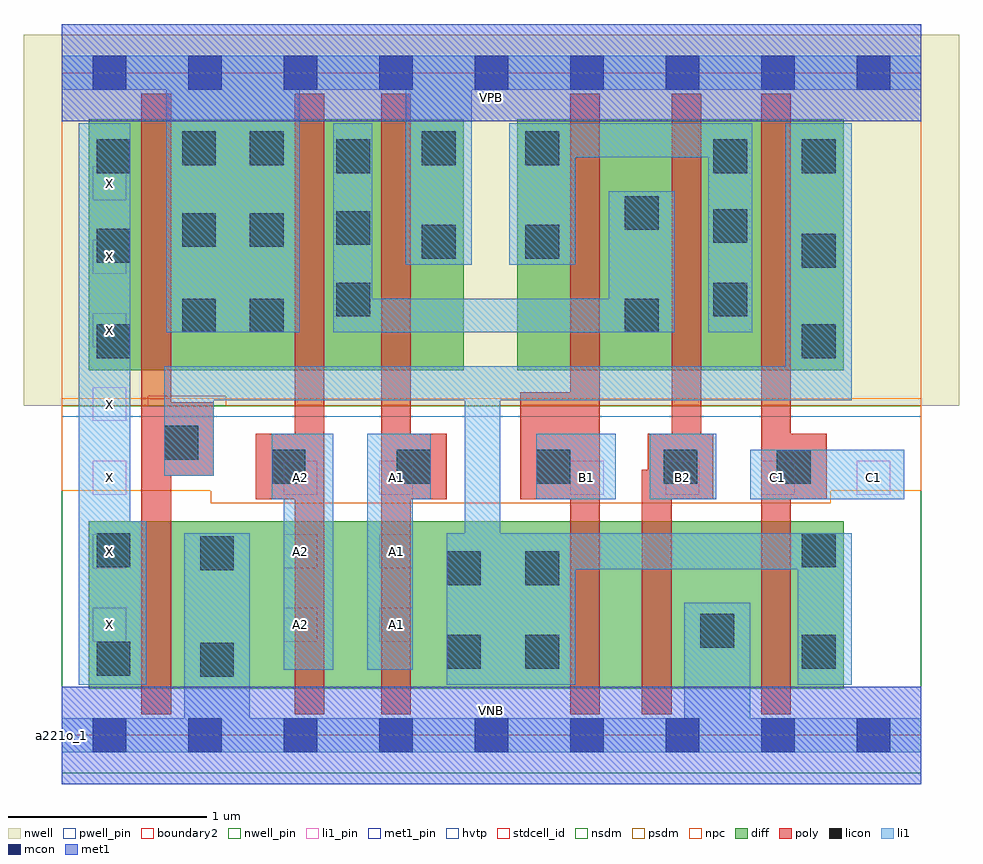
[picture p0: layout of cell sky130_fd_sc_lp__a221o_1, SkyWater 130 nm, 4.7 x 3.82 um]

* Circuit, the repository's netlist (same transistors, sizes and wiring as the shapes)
* Copyright 2020 The SkyWater PDK Authors
*
* Licensed under the Apache License, Version 2.0 (the "License");
* you may not use this file except in compliance with the License.
* You may obtain a copy of the License at
*
*     https://www.apache.org/licenses/LICENSE-2.0
*
* Unless required by applicable law or agreed to in writing, software
* distributed under the License is distributed on an "AS IS" BASIS,
* WITHOUT WARRANTIES OR CONDITIONS OF ANY KIND, either express or implied.
* See the License for the specific language governing permissions and
* limitations under the License.
*
* SPDX-License-Identifier: Apache-2.0

.SUBCKT sky130_fd_sc_lp__a221o_1 A1 A2 B1 B2 C1 VGND VNB VPB VPWR X
*.PININFO A1:I A2:I B1:I B2:I C1:I VGND:I VNB:I VPB:I VPWR:I X:O
MMPA0 pndA A1 VPWR VPB sky130_fd_pr__pfet_01v8_hvt m=1 w=1.26U l=0.15U mult=1 sa=0.265
+ sb=0.265 sd=0.28 area=0.063 perim=1.14
MMPA1 pndA A2 VPWR VPB sky130_fd_pr__pfet_01v8_hvt m=1 w=1.26U l=0.15U mult=1 sa=0.265
+ sb=0.265 sd=0.28 area=0.063 perim=1.14
MMPB0 pndB B1 pndA VPB sky130_fd_pr__pfet_01v8_hvt m=1 w=1.26U l=0.15U mult=1 sa=0.265
+ sb=0.265 sd=0.28 area=0.063 perim=1.14
MMPB1 pndB B2 pndA VPB sky130_fd_pr__pfet_01v8_hvt m=1 w=1.26U l=0.15U mult=1 sa=0.265
+ sb=0.265 sd=0.28 area=0.063 perim=1.14
MMPC0 y C1 pndB VPB sky130_fd_pr__pfet_01v8_hvt m=1 w=1.26U l=0.15U mult=1 sa=0.265
+ sb=0.265 sd=0.28 area=0.063 perim=1.14
MMIPX X y VPWR VPB sky130_fd_pr__pfet_01v8_hvt m=1 w=1.26U l=0.15U mult=1 sa=0.265
+ sb=0.265 sd=0.28 area=0.063 perim=1.14
MMNA0 y A1 sndA1 VNB sky130_fd_pr__nfet_01v8 m=1 w=0.84U l=0.15U mult=1 sa=0.265
+ sb=0.265 sd=0.28 area=0.063 perim=1.14
MMNA1 sndA1 A2 VGND VNB sky130_fd_pr__nfet_01v8 m=1 w=0.84U l=0.15U mult=1 sa=0.265
+ sb=0.265 sd=0.28 area=0.063 perim=1.14
MMNB0 y B1 sndB1 VNB sky130_fd_pr__nfet_01v8 m=1 w=0.84U l=0.15U mult=1 sa=0.265
+ sb=0.265 sd=0.28 area=0.063 perim=1.14
MMNB1 sndB1 B2 VGND VNB sky130_fd_pr__nfet_01v8 m=1 w=0.84U l=0.15U mult=1 sa=0.265
+ sb=0.265 sd=0.28 area=0.063 perim=1.14
MMNC0 y C1 VGND VNB sky130_fd_pr__nfet_01v8 m=1 w=0.84U l=0.15U mult=1 sa=0.265
+ sb=0.265 sd=0.28 area=0.063 perim=1.14
MMINX X y VGND VNB sky130_fd_pr__nfet_01v8 m=1 w=0.84U l=0.15U mult=1 sa=0.265
+ sb=0.265 sd=0.28 area=0.063 perim=1.14
.ENDS sky130_fd_sc_lp__a221o_1

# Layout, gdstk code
import gdstk
lib = gdstk.Library(unit=1e-6, precision=1e-09)
def R(c, l, rs):  # rectangles x0, y0, x1, y1
    for r in rs: c.add(gdstk.rectangle(r[:2], r[2:], *l))
def A(c, l, x, y, w, h, nx, ny, dx, dy):  # array of equal rectangles
    R(c, l, [(x+i*dx, y+j*dy, x+i*dx+w, y+j*dy+h) for i in range(nx) for j in range(ny)])
def P(c, l, *ps):  # polygons
    for p in ps: c.add(gdstk.Polygon(p, *l))
nwell_pin = (64, 16)
nwell = (64, 20)
diff = (65, 20)
poly = (66, 20)
licon = (66, 44)
li1_pin = (67, 16)
li1 = (67, 20)
mcon = (67, 44)
met1_pin = (68, 16)
met1 = (68, 20)
hvtp = (78, 44)
stdcell_id = (81, 4)
nsdm = (93, 44)
psdm = (94, 20)
npc = (95, 20)
pwell_pin = (122, 16)
boundary2 = (236, 0)

sky130_fd_sc_lp__a221o_1 = lib.new_cell('sky130_fd_sc_lp__a221o_1')
R(sky130_fd_sc_lp__a221o_1, nwell_pin, [(0,3.085,4.32,3.33)])
R(sky130_fd_sc_lp__a221o_1, nwell, [(-0.19,1.655,4.51,3.52)])
R(sky130_fd_sc_lp__a221o_1, diff, [(0.135,0.235,3.93,1.075), (0.135,1.835,2.02,3.095), (2.29,1.835,3.93,3.095)])
P(sky130_fd_sc_lp__a221o_1, poly, [(0.765,1.675),(0.55,1.675),(0.55,3.225),(0.4,3.225),(0.4,0.105),(0.55,0.105),(0.55,1.305),(0.765,1.305)],
  [(1.32,3.225),(1.17,3.225),(1.17,1.515),(0.975,1.515),(0.975,1.185),(1.17,1.185),(1.17,0.105),(1.32,0.105)],
  [(1.935,1.515),(1.755,1.515),(1.755,3.225),(1.605,3.225),(1.605,0.105),(1.755,0.105),(1.755,1.185),(1.935,1.185)],
  [(2.705,3.225),(2.555,3.225),(2.555,1.725),(2.305,1.725),(2.305,1.185),(2.555,1.185),(2.555,0.105),(2.705,0.105)],
  [(3.275,1.515),(3.215,1.515),(3.215,3.225),(3.065,3.225),(3.065,1.515),(2.945,1.515),(2.945,1.335),(2.915,1.335),(2.915,0.105),(3.065,0.105),(3.065,1.185),(3.275,1.185)],
  [(3.845,1.515),(3.665,1.515),(3.665,3.225),(3.515,3.225),(3.515,0.105),(3.665,0.105),(3.665,1.185),(3.845,1.185)])
A(sky130_fd_sc_lp__a221o_1, licon, 1.38, 2.105, 0.17, 0.17, 1, 3, 0, 0.36)
R(sky130_fd_sc_lp__a221o_1, licon, [(0.695,0.295,0.865,0.465), (0.175,0.3,0.345,0.47), (1.935,0.335,2.105,0.505), (2.33,0.335,2.5,0.505), (3.72,0.335,3.89,0.505), (3.21,0.44,3.38,0.61), (1.935,0.755,2.105,0.925), (2.33,0.755,2.5,0.925), (0.695,0.83,0.865,1), (0.175,0.845,0.345,1.015), (3.72,0.845,3.89,1.015), (1.055,1.265,1.225,1.435), (1.685,1.265,1.855,1.435), (2.385,1.265,2.555,1.435), (3.025,1.265,3.195,1.435), (3.595,1.265,3.765,1.435), (0.515,1.385,0.685,1.555), (0.175,1.895,0.345,2.065), (3.72,1.895,3.89,2.065), (0.605,2.025,0.775,2.195), (0.945,2.025,1.115,2.195), (2.83,2.025,3,2.195), (3.275,2.105,3.445,2.275), (3.72,2.35,3.89,2.52), (0.175,2.375,0.345,2.545), (1.81,2.395,1.98,2.565), (2.33,2.395,2.5,2.565), (0.605,2.455,0.775,2.625), (0.945,2.455,1.115,2.625), (3.275,2.475,3.445,2.645), (2.83,2.54,3,2.71), (0.175,2.825,0.345,2.995), (3.275,2.825,3.445,2.995), (3.72,2.825,3.89,2.995), (0.605,2.865,0.775,3.035), (0.945,2.865,1.115,3.035), (1.81,2.865,1.98,3.035), (2.33,2.865,2.5,3.035)])
A(sky130_fd_sc_lp__a221o_1, li1_pin, 0.155, 0.47, 0.17, 0.17, 1, 7, 0, 0.37)
A(sky130_fd_sc_lp__a221o_1, li1_pin, 1.115, 0.47, 0.17, 0.17, 1, 3, 0, 0.37)
A(sky130_fd_sc_lp__a221o_1, li1_pin, 1.595, 0.47, 0.17, 0.17, 1, 3, 0, 0.37)
A(sky130_fd_sc_lp__a221o_1, li1_pin, 2.555, 1.21, 0.17, 0.17, 4, 1, 0.48, 0)
R(sky130_fd_sc_lp__a221o_1, li1, [(2.385,1.185,2.785,1.515), (2.955,1.185,3.29,1.515), (3.46,1.185,4.235,1.435)])
P(sky130_fd_sc_lp__a221o_1, li1, [(1.73,2.365),(1.73,3.245),(1.195,3.245),(1.195,2.025),(0.525,2.025),(0.525,3.245),(0,3.245),(0,3.415),(4.32,3.415),(4.32,3.245),(2.06,3.245),(2.06,2.365)],
  [(0.615,0.085),(0.615,1.015),(0.945,1.015),(0.945,0.085),(3.13,0.085),(3.13,0.665),(3.46,0.665),(3.46,0.085),(4.32,0.085),(4.32,-0.085),(0,-0.085),(0,0.085)],
  [(1.855,1.515),(1.535,1.515),(1.535,0.33),(1.765,0.33),(1.765,1.185),(1.855,1.185)],
  [(3.97,1.015),(2.205,1.015),(2.205,1.685),(3.97,1.685),(3.97,3.075),(3.64,3.075),(3.64,1.855),(0.515,1.855),(0.515,1.305),(0.765,1.305),(0.765,1.685),(2.025,1.685),(2.025,1.015),(1.935,1.015),(1.935,0.255),(2.58,0.255),(2.58,0.835),(3.7,0.835),(3.7,0.255),(3.97,0.255)],
  [(1.365,1.515),(1.055,1.515),(1.055,1.185),(1.115,1.185),(1.115,0.33),(1.365,0.33)],
  [(3.47,3.075),(3.47,2.025),(3.25,2.025),(3.25,2.905),(2.58,2.905),(2.58,2.365),(2.25,2.365),(2.25,3.075)],
  [(1.56,2.195),(2.75,2.195),(2.75,2.735),(3.08,2.735),(3.08,2.025),(1.365,2.025),(1.365,3.075),(1.56,3.075)],
  [(0.425,1.075),(0.345,1.075),(0.345,3.075),(0.085,3.075),(0.085,0.255),(0.425,0.255)])
A(sky130_fd_sc_lp__a221o_1, mcon, 0.155, -0.085, 0.17, 0.17, 9, 2, 0.48, 3.33)
R(sky130_fd_sc_lp__a221o_1, met1_pin, [(0,0,4.32,0.245), (0,3.085,4.32,3.33)])
R(sky130_fd_sc_lp__a221o_1, met1, [(0,-0.245,4.32,0.245), (0,3.085,4.32,3.575)])
R(sky130_fd_sc_lp__a221o_1, hvtp, [(0,1.6,4.32,3.33)])
R(sky130_fd_sc_lp__a221o_1, stdcell_id, [(0,0,4.32,3.33)])
R(sky130_fd_sc_lp__a221o_1, nsdm, [(0,-0.19,4.32,1.655)])
P(sky130_fd_sc_lp__a221o_1, psdm, [(4.32,3.52),(0,3.52),(0,1.655),(0.435,1.655),(0.435,1.705),(0.825,1.705),(0.825,1.655),(4.32,1.655)])
P(sky130_fd_sc_lp__a221o_1, npc, [(4.32,1.695),(0,1.695),(0,1.23),(0.75,1.23),(0.75,1.165),(3.865,1.165),(3.865,1.23),(4.32,1.23)])
R(sky130_fd_sc_lp__a221o_1, pwell_pin, [(0,0,4.32,0.245)])
R(sky130_fd_sc_lp__a221o_1, boundary2, [(0,0,4.32,3.33)])
sky130_fd_sc_lp__a221o_1.add(gdstk.Label('VNB', (2.16,0.123), layer=64, texttype=59))
sky130_fd_sc_lp__a221o_1.add(gdstk.Label('VPB', (2.16,3.208), layer=64, texttype=5))
sky130_fd_sc_lp__a221o_1.add(gdstk.Label('a221o_1', (0,0), layer=83, texttype=44))
sky130_fd_sc_lp__a221o_1.add(gdstk.Label('VPWR', (2.16,3.208), layer=68, texttype=5))
sky130_fd_sc_lp__a221o_1.add(gdstk.Label('VGND', (2.16,0.123), layer=68, texttype=5))
sky130_fd_sc_lp__a221o_1.add(gdstk.Label('A1', (1.68,0.555), layer=67, texttype=5))
sky130_fd_sc_lp__a221o_1.add(gdstk.Label('A1', (1.68,0.925), layer=67, texttype=5))
sky130_fd_sc_lp__a221o_1.add(gdstk.Label('A1', (1.68,1.295), layer=67, texttype=5))
sky130_fd_sc_lp__a221o_1.add(gdstk.Label('A2', (1.2,0.555), layer=67, texttype=5))
sky130_fd_sc_lp__a221o_1.add(gdstk.Label('A2', (1.2,0.925), layer=67, texttype=5))
sky130_fd_sc_lp__a221o_1.add(gdstk.Label('A2', (1.2,1.295), layer=67, texttype=5))
sky130_fd_sc_lp__a221o_1.add(gdstk.Label('B2', (3.12,1.295), layer=67, texttype=5))
sky130_fd_sc_lp__a221o_1.add(gdstk.Label('C1', (3.6,1.295), layer=67, texttype=5))
sky130_fd_sc_lp__a221o_1.add(gdstk.Label('C1', (4.08,1.295), layer=67, texttype=5))
sky130_fd_sc_lp__a221o_1.add(gdstk.Label('B1', (2.64,1.295), layer=67, texttype=5))
sky130_fd_sc_lp__a221o_1.add(gdstk.Label('X', (0.24,0.555), layer=67, texttype=5))
sky130_fd_sc_lp__a221o_1.add(gdstk.Label('X', (0.24,0.925), layer=67, texttype=5))
sky130_fd_sc_lp__a221o_1.add(gdstk.Label('X', (0.24,1.295), layer=67, texttype=5))
sky130_fd_sc_lp__a221o_1.add(gdstk.Label('X', (0.24,1.665), layer=67, texttype=5))
sky130_fd_sc_lp__a221o_1.add(gdstk.Label('X', (0.24,2.035), layer=67, texttype=5))
sky130_fd_sc_lp__a221o_1.add(gdstk.Label('X', (0.24,2.405), layer=67, texttype=5))
sky130_fd_sc_lp__a221o_1.add(gdstk.Label('X', (0.24,2.775), layer=67, texttype=5))

lib.write_gds('sky130_fd_sc_lp__a221o_1.gds')
